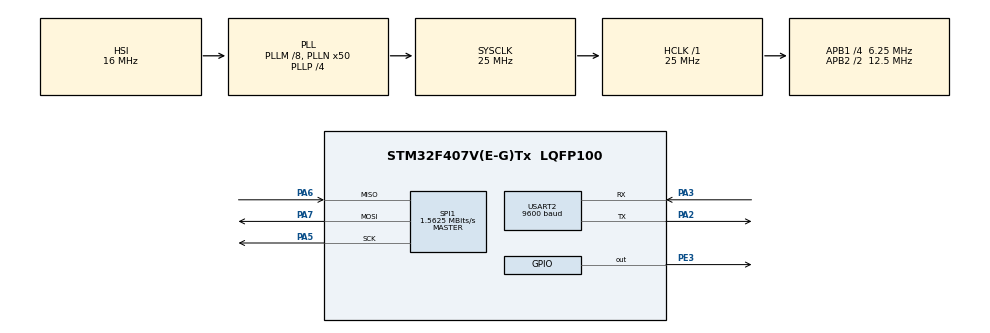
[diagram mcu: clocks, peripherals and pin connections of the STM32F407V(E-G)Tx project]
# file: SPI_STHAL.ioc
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Mcu.Family=STM32F4
Mcu.Name=STM32F407V(E-G)Tx
Mcu.Package=LQFP100
NVIC.PriorityGroup=NVIC_PRIORITYGROUP_0
PA2.Mode=Asynchronous
PA2.Signal=USART2_TX
PA3.Mode=Asynchronous
PA3.Signal=USART2_RX
PA5.Mode=Full_Duplex_Master
PA5.Signal=SPI1_SCK
PA6.Mode=Full_Duplex_Master
PA6.Signal=SPI1_MISO
PA7.Mode=Full_Duplex_Master
PA7.Signal=SPI1_MOSI
PE3.Signal=GPIO_Output
ProjectManager.HeapSize=0x200
ProjectManager.StackSize=0x400
ProjectManager.TargetToolchain=STM32CubeIDE
RCC.48MHZClocksFreq_Value=14285714.285714285
RCC.AHBFreq_Value=25000000
RCC.APB1CLKDivider=RCC_HCLK_DIV4
RCC.APB1Freq_Value=6250000
RCC.APB1TimFreq_Value=12500000
RCC.APB2CLKDivider=RCC_HCLK_DIV2
RCC.APB2Freq_Value=12500000
RCC.APB2TimFreq_Value=25000000
RCC.CortexFreq_Value=25000000
RCC.HCLKFreq_Value=25000000
RCC.HSE_VALUE=8000000
RCC.HSI_VALUE=16000000
RCC.LSE_VALUE=32768
RCC.PLLM=8
RCC.PLLN=50
RCC.PLLP=RCC_PLLP_DIV4
RCC.PLLQ=7
RCC.SYSCLKFreq_VALUE=25000000
RCC.SYSCLKSource=RCC_SYSCLKSOURCE_PLLCLK
RCC.VCOOutputFreq_Value=100000000
SPI1.BaudRatePrescaler=SPI_BAUDRATEPRESCALER_8
SPI1.CalculateBaudRate=1.5625 MBits/s
SPI1.Direction=SPI_DIRECTION_2LINES
SPI1.Mode=SPI_MODE_MASTER
SPI1.VirtualType=VM_MASTER
USART2.BaudRate=9600
USART2.VirtualMode=VM_ASYNC
board=STM32F407G-DISC1

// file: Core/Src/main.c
/* USER CODE BEGIN Header */
/**
  ******************************************************************************
  * @file           : main.c
  * @brief          : Main program body
  ******************************************************************************
  * @attention
  *
  * Copyright (c) 2023 STMicroelectronics.
  * All rights reserved.
  *
  * This software is licensed under terms that can be found in the LICENSE file
  * in the root directory of this software component.
  * If no LICENSE file comes with this software, it is provided AS-IS.
  *
  ******************************************************************************
  */
/* USER CODE END Header */
#include "main.h"

/* USER CODE BEGIN Includes */
#include <stdio.h>
/* USER CODE END Includes */

/* USER CODE BEGIN PD */
typedef struct {
	int16_t x, y, z;
}LIS3DSH_Data;
/* USER CODE END PD */

/* USER CODE BEGIN PM */
#define BV(n) (1<<(n))

#define LIS3DSH_OUT_X_L		0x28
#define LIS3DSH_OUT_X_H		0x29
#define LIS3DSH_OUT_Y_L		0x2A
#define LIS3DSH_OUT_Y_H		0x2B
#define LIS3DSH_OUT_Z_L		0x2C
#define LIS3DSH_OUT_Z_H		0x2D

#define LIS3DSH_STATUS		0x27
#define LIS3DSH_CTRL_REG4	0x20

#define LIS3DSH_STATUS_XDA		BV(0)
#define LIS3DSH_STATUS_YDA		BV(1)
#define LIS3DSH_STATUS_ZDA		BV(2)
#define LIS3DSH_STATUS_XYZDA	BV(3)
#define LIS3DSH_STATUS_XYZDA_Msk	(LIS3DSH_STATUS_XDA|LIS3DSH_STATUS_YDA|LIS3DSH_STATUS_ZDA)

#define LIS3DSH_CR4_XEN			BV(0)
#define LIS3DSH_CR4_YEN			BV(1)
#define LIS3DSH_CR4_ZEN			BV(2)
#define LIS3DSH_CR4_ODR_OFF		(0x0 << 4)
#define LIS3DSH_CR4_ODR_25HZ	(0x4 << 4)
/* USER CODE END PM */

SPI_HandleTypeDef hspi1;

UART_HandleTypeDef huart2;

void SystemClock_Config(void);
static void MX_GPIO_Init(void);
static void MX_SPI1_Init(void);
static void MX_USART2_UART_Init(void);

/* USER CODE BEGIN 0 */
void SPI_Write(uint8_t reg, uint8_t data[], uint8_t size) {
	// Enable Slave device (PE3=0)
	HAL_GPIO_WritePin(GPIOE, GPIO_PIN_3, GPIO_PIN_RESET);
	// Send the register address (MSB=0)
	reg &= ~BV(7);
	HAL_SPI_Transmit(&hspi1, &reg, 1, HAL_MAX_DELAY);
	// Write given data of given bytes on SPI
	HAL_SPI_Transmit(&hspi1, data, size, HAL_MAX_DELAY);
	// Disable Slave device (PE3=1)
	HAL_GPIO_WritePin(GPIOE, GPIO_PIN_3, GPIO_PIN_SET);
}

void SPI_Read(uint8_t reg, uint8_t data[], uint8_t size) {
	// Enable Slave device (PE3=0)
	HAL_GPIO_WritePin(GPIOE, GPIO_PIN_3, GPIO_PIN_RESET);
	// Send the register address (MSB=1)
	reg |= BV(7);
	HAL_SPI_Transmit(&hspi1, &reg, 1, HAL_MAX_DELAY);
	// Read data into given buffer of given bytes from SPI
	HAL_SPI_Receive(&hspi1, data, size, HAL_MAX_DELAY);
	// Disable Slave device (PE3=1)
	HAL_GPIO_WritePin(GPIOE, GPIO_PIN_3, GPIO_PIN_SET);
}

void LIS3DSH_Init(void) {
	// CTRL_REG4 = ODR_25Hz | XEN | YEN | ZEN
	uint8_t val = LIS3DSH_CR4_ODR_25HZ | LIS3DSH_CR4_XEN | LIS3DSH_CR4_YEN | LIS3DSH_CR4_ZEN;
	SPI_Write(LIS3DSH_CTRL_REG4, &val, 1);
}

void LIS3DSH_WaitForData(void) {
	uint8_t val;
	// Read STATUS and check if any one bit from XDA, YDA, ZDA is ON
	do {
		SPI_Read(LIS3DSH_STATUS, &val, 1);
	}while( (val & LIS3DSH_STATUS_XYZDA_Msk) == 0 );
}

void LIS3DSH_ReadData(LIS3DSH_Data *data) {
	uint8_t buf[6];
	// Read XL, XH, YL, YH, ZL, ZH data from Accel
	SPI_Read(LIS3DSH_OUT_X_L, buf, 6);
	// Read XL & XH into data.x
	data->x = (((uint16_t)buf[1]) << 8) | buf[0];
	// Read YL & YH into data.y
	data->y = (((uint16_t)buf[3]) << 8) | buf[2];
	// Read ZL & ZH into data.z
	data->z = (((uint16_t)buf[5]) << 8) | buf[4];
}
/* USER CODE END 0 */

int main(void)
{
  /* USER CODE BEGIN 1 */
	LIS3DSH_Data data;
	char str[64];
	int count;
  /* USER CODE END 1 */

  /* MCU Configuration--------------------------------------------------------*/

  /* Reset of all peripherals, Initializes the Flash interface and the Systick. */
  HAL_Init();

  /* Configure the system clock */
  SystemClock_Config();

  /* Initialize all configured peripherals */
  MX_GPIO_Init();
  MX_SPI1_Init();
  MX_USART2_UART_Init();
  /* USER CODE BEGIN 2 */
  LIS3DSH_Init();
  /* USER CODE END 2 */

  /* Infinite loop */
  /* USER CODE BEGIN WHILE */
  while (1)
  {
	  LIS3DSH_WaitForData();
	  LIS3DSH_ReadData(&data);
	  count = sprintf(str, "X=%d, Y=%d, Z=%d\r\n", data.x, data.y, data.z);
	  HAL_UART_Transmit(&huart2, (uint8_t*)str, count, HAL_MAX_DELAY);
	  HAL_Delay(1000);
    /* USER CODE END WHILE */

  }
}

void SystemClock_Config(void)
{
  RCC_OscInitTypeDef RCC_OscInitStruct = {0};
  RCC_ClkInitTypeDef RCC_ClkInitStruct = {0};

  /** Configure the main internal regulator output voltage
  */
  __HAL_RCC_PWR_CLK_ENABLE();
  __HAL_PWR_VOLTAGESCALING_CONFIG(PWR_REGULATOR_VOLTAGE_SCALE1);

  /** Initializes the RCC Oscillators according to the specified parameters
  * in the RCC_OscInitTypeDef structure.
  */
  RCC_OscInitStruct.OscillatorType = RCC_OSCILLATORTYPE_HSI;
  RCC_OscInitStruct.HSIState = RCC_HSI_ON;
  RCC_OscInitStruct.HSICalibrationValue = RCC_HSICALIBRATION_DEFAULT;
  RCC_OscInitStruct.PLL.PLLState = RCC_PLL_ON;
  RCC_OscInitStruct.PLL.PLLSource = RCC_PLLSOURCE_HSI;
  RCC_OscInitStruct.PLL.PLLM = 8;
  RCC_OscInitStruct.PLL.PLLN = 50;
  RCC_OscInitStruct.PLL.PLLP = RCC_PLLP_DIV4;
  RCC_OscInitStruct.PLL.PLLQ = 7;
  if (HAL_RCC_OscConfig(&RCC_OscInitStruct) != HAL_OK)
  {
    Error_Handler();
  }

  /** Initializes the CPU, AHB and APB buses clocks
  */
  RCC_ClkInitStruct.ClockType = RCC_CLOCKTYPE_HCLK|RCC_CLOCKTYPE_SYSCLK
                              |RCC_CLOCKTYPE_PCLK1|RCC_CLOCKTYPE_PCLK2;
  RCC_ClkInitStruct.SYSCLKSource = RCC_SYSCLKSOURCE_PLLCLK;
  RCC_ClkInitStruct.AHBCLKDivider = RCC_SYSCLK_DIV1;
  RCC_ClkInitStruct.APB1CLKDivider = RCC_HCLK_DIV4;
  RCC_ClkInitStruct.APB2CLKDivider = RCC_HCLK_DIV2;

  if (HAL_RCC_ClockConfig(&RCC_ClkInitStruct, FLASH_LATENCY_0) != HAL_OK)
  {
    Error_Handler();
  }
}

static void MX_SPI1_Init(void)
{

  /* SPI1 parameter configuration*/
  hspi1.Instance = SPI1;
  hspi1.Init.Mode = SPI_MODE_MASTER;
  hspi1.Init.Direction = SPI_DIRECTION_2LINES;
  hspi1.Init.DataSize = SPI_DATASIZE_8BIT;
  hspi1.Init.CLKPolarity = SPI_POLARITY_LOW;
  hspi1.Init.CLKPhase = SPI_PHASE_1EDGE;
  hspi1.Init.NSS = SPI_NSS_SOFT;
  hspi1.Init.BaudRatePrescaler = SPI_BAUDRATEPRESCALER_8;
  hspi1.Init.FirstBit = SPI_FIRSTBIT_MSB;
  hspi1.Init.TIMode = SPI_TIMODE_DISABLE;
  hspi1.Init.CRCCalculation = SPI_CRCCALCULATION_DISABLE;
  hspi1.Init.CRCPolynomial = 10;
  if (HAL_SPI_Init(&hspi1) != HAL_OK)
  {
    Error_Handler();
  }

}

static void MX_USART2_UART_Init(void)
{

  huart2.Instance = USART2;
  huart2.Init.BaudRate = 115200;
  huart2.Init.WordLength = UART_WORDLENGTH_8B;
  huart2.Init.StopBits = UART_STOPBITS_1;
  huart2.Init.Parity = UART_PARITY_NONE;
  huart2.Init.Mode = UART_MODE_TX_RX;
  huart2.Init.HwFlowCtl = UART_HWCONTROL_NONE;
  huart2.Init.OverSampling = UART_OVERSAMPLING_16;
  if (HAL_UART_Init(&huart2) != HAL_OK)
  {
    Error_Handler();
  }

}

static void MX_GPIO_Init(void)
{
  GPIO_InitTypeDef GPIO_InitStruct = {0};

  /* GPIO Ports Clock Enable */
  __HAL_RCC_GPIOE_CLK_ENABLE();
  __HAL_RCC_GPIOA_CLK_ENABLE();

  /*Configure GPIO pin Output Level */
  HAL_GPIO_WritePin(GPIOE, GPIO_PIN_3, GPIO_PIN_RESET);

  /*Configure GPIO pin : PE3 */
  GPIO_InitStruct.Pin = GPIO_PIN_3;
  GPIO_InitStruct.Mode = GPIO_MODE_OUTPUT_PP;
  GPIO_InitStruct.Pull = GPIO_NOPULL;
  GPIO_InitStruct.Speed = GPIO_SPEED_FREQ_LOW;
  HAL_GPIO_Init(GPIOE, &GPIO_InitStruct);

}

void Error_Handler(void)
{
  __disable_irq();
  while (1)
  {
  }
}
